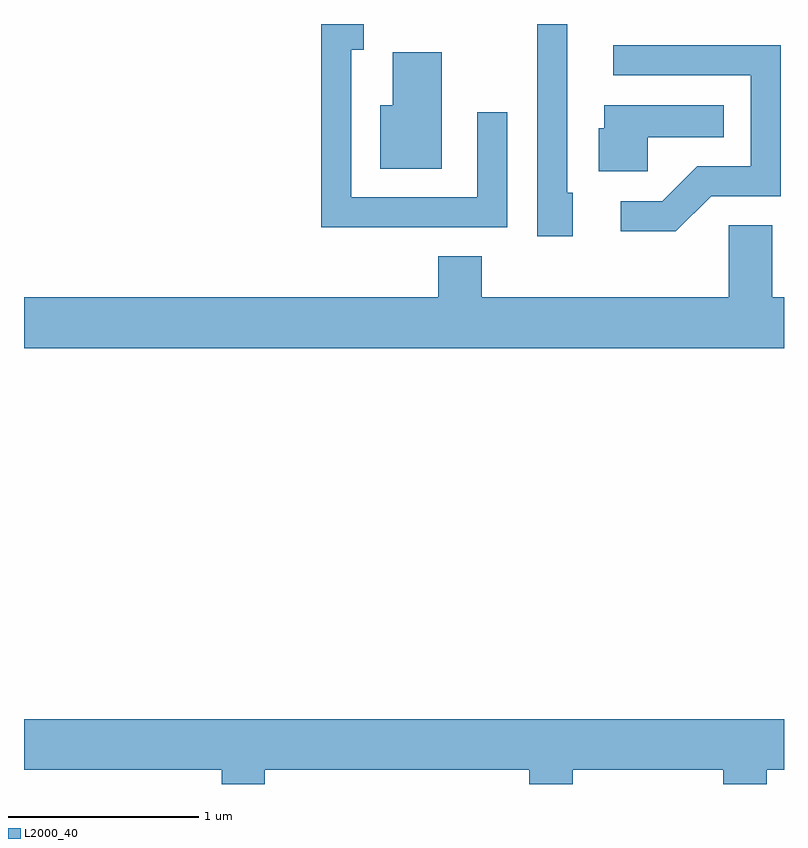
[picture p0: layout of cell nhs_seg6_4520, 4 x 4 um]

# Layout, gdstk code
import gdstk
lib = gdstk.Library(unit=1e-6, precision=1e-09)
def P(c, l, *ps):  # polygons
    for p in ps: c.add(gdstk.Polygon(p, *l))
L2000_40 = (2000, 40)

nhs_seg6_4520 = lib.new_cell('nhs_seg6_4520')
P(nhs_seg6_4520, L2000_40, [(326.154,1575.698),(325.996,1575.698),(325.996,1575.249),(325.334,1575.249),(325.334,1576.026),(325.399,1576.026),(325.399,1576.162),(325.176,1576.162),(325.176,1575.091),(326.154,1575.091)],
  [(326.499,1575.274),(326.469,1575.274),(326.469,1576.162),(326.311,1576.162),(326.311,1575.046),(326.499,1575.046)],
  [(327.227,1575.256),(327.594,1575.256),(327.594,1576.049),(326.713,1576.049),(326.713,1575.891),(327.436,1575.891),(327.436,1575.414),(327.154,1575.414),(326.969,1575.229),(326.753,1575.229),(326.753,1575.071),(327.042,1575.071)],
  [(325.809,1576.014),(325.551,1576.014),(325.551,1575.734),(325.486,1575.734),(325.486,1575.401),(325.809,1575.401)],
  [(326.894,1575.566),(327.293,1575.566),(327.293,1575.734),(326.666,1575.734),(326.666,1575.614),(326.636,1575.614),(326.636,1575.386),(326.894,1575.386)],
  [(327.611,1574.724),(327.549,1574.724),(327.549,1575.104),(327.321,1575.104),(327.321,1574.724),(326.019,1574.724),(326.019,1574.939),(325.791,1574.939),(325.791,1574.724),(323.611,1574.724),(323.611,1574.456),(327.611,1574.456)],
  [(324.879,1572.236),(326.271,1572.236),(326.271,1572.162),(326.499,1572.162),(326.499,1572.236),(327.291,1572.236),(327.291,1572.162),(327.519,1572.162),(327.519,1572.236),(327.611,1572.236),(327.611,1572.504),(323.611,1572.504),(323.611,1572.236),(324.651,1572.236),(324.651,1572.162),(324.879,1572.162)])

lib.write_gds('nhs_seg6_4520.gds')
